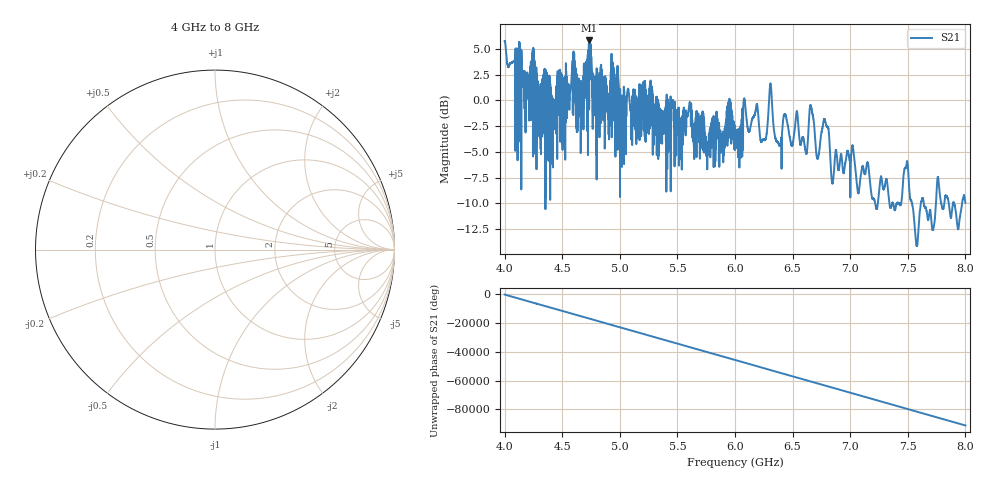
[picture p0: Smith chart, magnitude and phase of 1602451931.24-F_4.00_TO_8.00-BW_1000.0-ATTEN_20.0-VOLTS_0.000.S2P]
!Keysight Technologies,E5063A,MY54502693,A.05.04
!Date: Mon Oct 12 06:33:48 2020
!Data & Calibration Information:
!Freq	S11:NONE(--)	S21:NONE(--)	S12:NONE(--)	S22:NONE(--)
# Hz S RI R 50
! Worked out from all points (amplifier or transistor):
!   10000 points, 4 GHz to 8 GHz, reference 50 ohm
!   highest |S21| = 5.8 dB at 4.736 GHz (marker M1)
!   |S21| within 3 dB of that: start of sweep to 4.091 GHz (the widest 1 of 94)
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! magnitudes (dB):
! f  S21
! 4 GHz  5.8
! 4.425 GHz  -2.2
! 4.597 GHz  4.4
! 4.667 GHz  0.6
! 4.736 GHz  5.8
! 5.334 GHz  -0.3
! 6 GHz  -2.5
! 6.183 GHz  -0.7
! 6.249 GHz  -3.7
! 6.308 GHz  1.7
! 6.373 GHz  -4.1
! 6.614 GHz  -5.0
! 6.667 GHz  -0.9
! 6.717 GHz  -5.6
! 6.795 GHz  -2.5
! 6.846 GHz  -8.1
! 7.023 GHz  -4.4
! 7.334 GHz  -9.3
! 7.487 GHz  -6.4
! 7.577 GHz  -14.2
! 7.765 GHz  -7.6
! 8 GHz  -9.9
